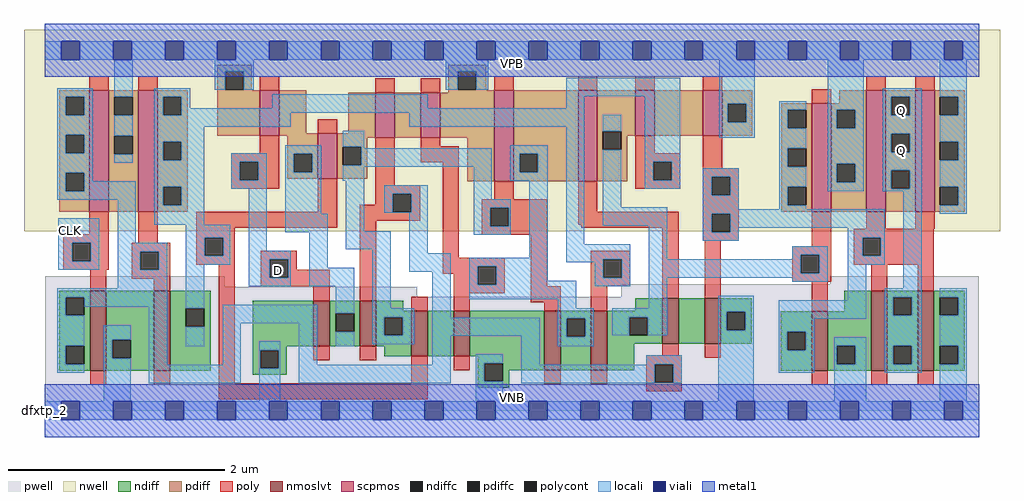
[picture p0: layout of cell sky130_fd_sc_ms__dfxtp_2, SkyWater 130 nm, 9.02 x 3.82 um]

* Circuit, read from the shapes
.subckt sky130_fd_sc_ms__dfxtp_2 CLK D VGND VNB VPB VPWR Q
XM1 VGND CLK n1 VNB sky130_fd_pr__nfet_01v8_lvt w=0.74 l=0.15
XM2 n2 n1 VGND VNB sky130_fd_pr__nfet_01v8_lvt w=0.74 l=0.15
XM3 n3 D VGND VNB sky130_fd_pr__nfet_01v8_lvt w=0.42 l=0.15
XM4 n4 n1 n3 VNB sky130_fd_pr__nfet_01v8_lvt w=0.42 l=0.15
XM5 n5 n2 n4 VNB sky130_fd_pr__nfet_01v8_lvt w=0.42 l=0.15
XM6 VGND n6 n5 VNB sky130_fd_pr__nfet_01v8_lvt w=0.42 l=0.15
XM7 n6 n4 VGND VNB sky130_fd_pr__nfet_01v8_lvt w=0.55 l=0.15
XM8 n7 n2 n6 VNB sky130_fd_pr__nfet_01v8_lvt w=0.55 l=0.15
XM9 n8 n1 n7 VNB sky130_fd_pr__nfet_01v8_lvt w=0.42 l=0.15
XM10 VGND n9 n8 VNB sky130_fd_pr__nfet_01v8_lvt w=0.42 l=0.15
XM11 VGND n7 n9 VNB sky130_fd_pr__nfet_01v8_lvt w=0.55 l=0.15
XM12 Q n9 VGND VNB sky130_fd_pr__nfet_01v8_lvt w=0.74 l=0.15 m=2
XM13 VPWR CLK n1 VPB sky130_fd_pr__pfet_01v8 w=1.12 l=0.18
XM14 n2 n1 VPWR VPB sky130_fd_pr__pfet_01v8 w=1.12 l=0.18
XM15 n3 D VPWR VPB sky130_fd_pr__pfet_01v8 w=0.42 l=0.18
XM16 n4 n2 n3 VPB sky130_fd_pr__pfet_01v8 w=0.42 l=0.18
XM17 n10 n1 n4 VPB sky130_fd_pr__pfet_01v8 w=0.42 l=0.18
XM18 VPWR n6 n10 VPB sky130_fd_pr__pfet_01v8 w=0.42 l=0.18
XM19 n6 n4 VPWR VPB sky130_fd_pr__pfet_01v8 w=0.84 l=0.18
XM20 n7 n1 n6 VPB sky130_fd_pr__pfet_01v8 w=0.84 l=0.18
XM21 n11 n2 n7 VPB sky130_fd_pr__pfet_01v8 w=0.42 l=0.18
XM22 VPWR n9 n11 VPB sky130_fd_pr__pfet_01v8 w=0.42 l=0.18
XM23 VPWR n7 n9 VPB sky130_fd_pr__pfet_01v8 w=1 l=0.18
XM24 Q n9 VPWR VPB sky130_fd_pr__pfet_01v8 w=1.12 l=0.18 m=2
.ends

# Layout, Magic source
magic
tech sky130A
magscale 1 2
<< nwell >>
rect -38 332 1766 704
<< pwell >>
rect 1 229 333 248
rect 1452 234 1727 248
rect 1 211 689 229
rect 1066 211 1727 234
rect 1 49 1727 211
rect 0 0 1728 49
<< scpmos >>
rect 83 368 119 592
rect 173 368 209 592
rect 398 508 434 592
rect 505 429 541 513
rect 611 504 647 588
rect 695 504 731 588
rect 831 424 867 592
rect 986 424 1022 592
rect 1092 508 1128 592
rect 1217 508 1253 592
rect 1418 368 1454 568
rect 1519 368 1555 592
rect 1609 368 1645 592
<< nmoslvt >>
rect 84 74 114 222
rect 202 74 232 222
rect 497 119 527 203
rect 583 119 613 203
rect 678 101 708 185
rect 756 101 786 185
rect 924 75 954 185
rect 1010 75 1040 185
rect 1142 124 1172 208
rect 1220 124 1250 208
rect 1418 74 1448 184
rect 1528 74 1558 222
rect 1614 74 1644 222
<< ndiff >>
rect 27 210 84 222
rect 27 176 39 210
rect 73 176 84 210
rect 27 120 84 176
rect 27 86 39 120
rect 73 86 84 120
rect 27 74 84 86
rect 114 131 202 222
rect 114 97 125 131
rect 159 97 202 131
rect 114 74 202 97
rect 232 189 307 222
rect 232 155 261 189
rect 295 155 307 189
rect 232 74 307 155
rect 385 119 497 203
rect 527 180 583 203
rect 527 146 538 180
rect 572 146 583 180
rect 527 119 583 146
rect 613 185 663 203
rect 1092 185 1142 208
rect 613 173 678 185
rect 613 139 628 173
rect 662 139 678 173
rect 613 119 678 139
rect 385 112 448 119
rect 385 78 399 112
rect 433 78 448 112
rect 628 101 678 119
rect 708 101 756 185
rect 786 101 924 185
rect 385 66 448 78
rect 801 88 924 101
rect 801 54 813 88
rect 847 75 924 88
rect 954 171 1010 185
rect 954 137 965 171
rect 999 137 1010 171
rect 954 75 1010 137
rect 1040 173 1142 185
rect 1040 139 1081 173
rect 1115 139 1142 173
rect 1040 124 1142 139
rect 1172 124 1220 208
rect 1250 183 1307 208
rect 1478 184 1528 222
rect 1250 149 1261 183
rect 1295 149 1307 183
rect 1250 124 1307 149
rect 1361 146 1418 184
rect 1040 75 1090 124
rect 1361 112 1373 146
rect 1407 112 1418 146
rect 847 54 859 75
rect 801 42 859 54
rect 1361 74 1418 112
rect 1448 120 1528 184
rect 1448 86 1464 120
rect 1498 86 1528 120
rect 1448 74 1528 86
rect 1558 210 1614 222
rect 1558 176 1569 210
rect 1603 176 1614 210
rect 1558 120 1614 176
rect 1558 86 1569 120
rect 1603 86 1614 120
rect 1558 74 1614 86
rect 1644 210 1701 222
rect 1644 176 1655 210
rect 1689 176 1701 210
rect 1644 120 1701 176
rect 1644 86 1655 120
rect 1689 86 1701 120
rect 1644 74 1701 86
<< pdiff >>
rect 319 627 383 639
rect 319 593 334 627
rect 368 593 383 627
rect 746 627 816 639
rect 319 592 383 593
rect 27 580 83 592
rect 27 546 39 580
rect 73 546 83 580
rect 27 510 83 546
rect 27 476 39 510
rect 73 476 83 510
rect 27 440 83 476
rect 27 406 39 440
rect 73 406 83 440
rect 27 368 83 406
rect 119 580 173 592
rect 119 546 129 580
rect 163 546 173 580
rect 119 508 173 546
rect 119 474 129 508
rect 163 474 173 508
rect 119 368 173 474
rect 209 580 265 592
rect 209 546 219 580
rect 253 546 265 580
rect 209 497 265 546
rect 319 508 398 592
rect 434 513 484 592
rect 746 593 764 627
rect 798 593 816 627
rect 746 592 816 593
rect 746 588 831 592
rect 561 513 611 588
rect 434 508 505 513
rect 209 463 219 497
rect 253 463 265 497
rect 209 414 265 463
rect 209 380 219 414
rect 253 380 265 414
rect 449 475 505 508
rect 449 441 461 475
rect 495 441 505 475
rect 449 429 505 441
rect 541 504 611 513
rect 647 504 695 588
rect 731 504 831 588
rect 541 488 596 504
rect 541 454 551 488
rect 585 454 596 488
rect 541 429 596 454
rect 209 368 265 380
rect 781 424 831 504
rect 867 475 986 592
rect 867 441 878 475
rect 912 441 986 475
rect 867 424 986 441
rect 1022 516 1092 592
rect 1022 482 1032 516
rect 1066 508 1092 516
rect 1128 508 1217 592
rect 1253 567 1308 592
rect 1469 568 1519 592
rect 1253 533 1263 567
rect 1297 533 1308 567
rect 1253 508 1308 533
rect 1362 556 1418 568
rect 1362 522 1374 556
rect 1408 522 1418 556
rect 1066 482 1077 508
rect 1022 424 1077 482
rect 1362 485 1418 522
rect 1362 451 1374 485
rect 1408 451 1418 485
rect 1362 414 1418 451
rect 1362 380 1374 414
rect 1408 380 1418 414
rect 1362 368 1418 380
rect 1454 556 1519 568
rect 1454 522 1464 556
rect 1498 522 1519 556
rect 1454 456 1519 522
rect 1454 422 1464 456
rect 1498 422 1519 456
rect 1454 368 1519 422
rect 1555 580 1609 592
rect 1555 546 1565 580
rect 1599 546 1609 580
rect 1555 512 1609 546
rect 1555 478 1565 512
rect 1599 478 1609 512
rect 1555 444 1609 478
rect 1555 410 1565 444
rect 1599 410 1609 444
rect 1555 368 1609 410
rect 1645 580 1701 592
rect 1645 546 1655 580
rect 1689 546 1701 580
rect 1645 497 1701 546
rect 1645 463 1655 497
rect 1689 463 1701 497
rect 1645 414 1701 463
rect 1645 380 1655 414
rect 1689 380 1701 414
rect 1645 368 1701 380
<< ndiffc >>
rect 39 176 73 210
rect 39 86 73 120
rect 125 97 159 131
rect 261 155 295 189
rect 538 146 572 180
rect 628 139 662 173
rect 399 78 433 112
rect 813 54 847 88
rect 965 137 999 171
rect 1081 139 1115 173
rect 1261 149 1295 183
rect 1373 112 1407 146
rect 1464 86 1498 120
rect 1569 176 1603 210
rect 1569 86 1603 120
rect 1655 176 1689 210
rect 1655 86 1689 120
<< pdiffc >>
rect 334 593 368 627
rect 39 546 73 580
rect 39 476 73 510
rect 39 406 73 440
rect 129 546 163 580
rect 129 474 163 508
rect 219 546 253 580
rect 764 593 798 627
rect 219 463 253 497
rect 219 380 253 414
rect 461 441 495 475
rect 551 454 585 488
rect 878 441 912 475
rect 1032 482 1066 516
rect 1263 533 1297 567
rect 1374 522 1408 556
rect 1374 451 1408 485
rect 1374 380 1408 414
rect 1464 522 1498 556
rect 1464 422 1498 456
rect 1565 546 1599 580
rect 1565 478 1599 512
rect 1565 410 1599 444
rect 1655 546 1689 580
rect 1655 463 1689 497
rect 1655 380 1689 414
<< poly >>
rect 83 592 119 618
rect 173 592 209 618
rect 398 592 434 618
rect 611 588 647 614
rect 695 588 731 614
rect 831 592 867 618
rect 986 592 1022 618
rect 1092 592 1128 618
rect 1217 592 1253 618
rect 505 513 541 539
rect 398 476 434 508
rect 345 460 434 476
rect 345 426 361 460
rect 395 426 434 460
rect 345 410 434 426
rect 505 368 541 429
rect 611 417 647 504
rect 695 489 731 504
rect 695 459 766 489
rect 611 401 694 417
rect 611 381 644 401
rect 83 326 119 368
rect 35 310 119 326
rect 173 310 209 368
rect 280 338 541 368
rect 583 367 644 381
rect 678 367 694 401
rect 583 351 694 367
rect 280 320 352 338
rect 35 276 51 310
rect 85 276 119 310
rect 35 260 119 276
rect 161 294 232 310
rect 161 260 177 294
rect 211 260 232 294
rect 280 286 296 320
rect 330 286 352 320
rect 280 270 352 286
rect 84 222 114 260
rect 161 244 232 260
rect 202 222 232 244
rect 84 48 114 74
rect 202 48 232 74
rect 322 51 352 270
rect 400 280 466 296
rect 400 246 416 280
rect 450 260 466 280
rect 450 246 527 260
rect 400 230 527 246
rect 497 203 527 230
rect 583 203 613 351
rect 736 283 766 459
rect 1418 568 1454 594
rect 1519 592 1555 618
rect 1609 592 1645 618
rect 1092 476 1128 508
rect 1092 460 1175 476
rect 1092 426 1125 460
rect 1159 426 1175 460
rect 831 391 867 424
rect 808 375 929 391
rect 808 341 824 375
rect 858 341 929 375
rect 986 368 1022 424
rect 1092 410 1175 426
rect 1217 448 1253 508
rect 1217 432 1283 448
rect 1217 398 1233 432
rect 1267 398 1283 432
rect 986 344 1172 368
rect 808 325 929 341
rect 992 338 1172 344
rect 736 267 851 283
rect 736 253 801 267
rect 756 233 801 253
rect 835 233 851 267
rect 756 217 851 233
rect 899 230 929 325
rect 1010 280 1083 296
rect 1010 246 1033 280
rect 1067 246 1083 280
rect 1010 230 1083 246
rect 678 185 708 211
rect 756 185 786 217
rect 899 200 954 230
rect 924 185 954 200
rect 1010 185 1040 230
rect 1142 208 1172 338
rect 1217 364 1283 398
rect 1217 330 1233 364
rect 1267 330 1283 364
rect 1217 314 1283 330
rect 1220 208 1250 314
rect 1418 304 1454 368
rect 1519 336 1555 368
rect 1609 336 1645 368
rect 1382 288 1454 304
rect 1382 254 1398 288
rect 1432 254 1454 288
rect 1496 320 1644 336
rect 1496 286 1512 320
rect 1546 286 1644 320
rect 1496 270 1644 286
rect 1382 238 1454 254
rect 497 93 527 119
rect 583 93 613 119
rect 678 51 708 101
rect 756 75 786 101
rect 322 21 708 51
rect 1418 184 1448 238
rect 1528 222 1558 270
rect 1614 222 1644 270
rect 1142 102 1172 124
rect 1112 86 1178 102
rect 1220 98 1250 124
rect 924 49 954 75
rect 1010 49 1040 75
rect 1112 52 1128 86
rect 1162 52 1178 86
rect 1112 36 1178 52
rect 1418 48 1448 74
rect 1528 48 1558 74
rect 1614 48 1644 74
<< polycont >>
rect 361 426 395 460
rect 644 367 678 401
rect 51 276 85 310
rect 177 260 211 294
rect 296 286 330 320
rect 416 246 450 280
rect 1125 426 1159 460
rect 824 341 858 375
rect 1233 398 1267 432
rect 801 233 835 267
rect 1033 246 1067 280
rect 1233 330 1267 364
rect 1398 254 1432 288
rect 1512 286 1546 320
rect 1128 52 1162 86
<< locali >>
rect 0 649 31 683
rect 65 649 127 683
rect 161 649 223 683
rect 257 649 319 683
rect 353 649 415 683
rect 449 649 511 683
rect 545 649 607 683
rect 641 649 703 683
rect 737 649 799 683
rect 833 649 895 683
rect 929 649 991 683
rect 1025 649 1087 683
rect 1121 649 1183 683
rect 1217 649 1279 683
rect 1313 649 1375 683
rect 1409 649 1471 683
rect 1505 649 1567 683
rect 1601 649 1663 683
rect 1697 649 1728 683
rect 23 580 89 596
rect 23 546 39 580
rect 73 546 89 580
rect 23 510 89 546
rect 23 476 39 510
rect 73 476 89 510
rect 23 440 89 476
rect 129 580 163 649
rect 315 627 387 649
rect 129 508 163 546
rect 129 458 163 474
rect 203 580 269 596
rect 315 593 334 627
rect 368 593 387 627
rect 742 627 820 649
rect 742 593 764 627
rect 798 593 820 627
rect 203 546 219 580
rect 253 559 269 580
rect 421 559 708 585
rect 964 581 1175 615
rect 964 559 998 581
rect 253 551 998 559
rect 253 546 455 551
rect 203 525 455 546
rect 674 525 998 551
rect 203 497 295 525
rect 203 463 219 497
rect 253 463 295 497
rect 23 406 39 440
rect 73 424 89 440
rect 73 406 169 424
rect 23 390 169 406
rect 25 310 101 356
rect 25 276 51 310
rect 85 276 101 310
rect 25 260 101 276
rect 135 310 169 390
rect 203 414 295 463
rect 203 380 219 414
rect 253 380 295 414
rect 345 460 411 476
rect 345 426 361 460
rect 395 426 411 460
rect 345 410 411 426
rect 203 344 295 380
rect 261 320 343 344
rect 135 294 227 310
rect 135 260 177 294
rect 211 260 227 294
rect 135 226 227 260
rect 23 210 227 226
rect 23 176 39 210
rect 73 192 227 210
rect 23 120 73 176
rect 23 86 39 120
rect 23 70 73 86
rect 109 131 159 158
rect 109 97 125 131
rect 109 17 159 97
rect 193 85 227 192
rect 261 286 296 320
rect 330 286 343 320
rect 261 270 343 286
rect 377 296 411 410
rect 445 475 511 491
rect 445 441 461 475
rect 495 441 511 475
rect 445 364 511 441
rect 551 488 591 517
rect 585 485 591 488
rect 585 454 827 485
rect 551 451 827 454
rect 551 425 591 451
rect 445 330 523 364
rect 377 280 455 296
rect 261 189 295 270
rect 377 246 416 280
rect 450 246 455 280
rect 377 230 455 246
rect 489 264 523 330
rect 557 332 591 425
rect 628 401 708 417
rect 628 367 644 401
rect 678 367 708 401
rect 628 366 708 367
rect 557 298 640 332
rect 489 230 572 264
rect 261 119 295 155
rect 329 162 504 196
rect 329 85 363 162
rect 193 51 363 85
rect 397 112 436 128
rect 397 78 399 112
rect 433 78 436 112
rect 397 17 436 78
rect 470 85 504 162
rect 538 180 572 230
rect 538 119 572 146
rect 606 189 640 298
rect 674 291 708 366
rect 793 391 827 451
rect 861 475 930 491
rect 861 441 878 475
rect 912 441 930 475
rect 861 425 930 441
rect 793 375 862 391
rect 793 341 824 375
rect 858 341 862 375
rect 793 325 862 341
rect 674 257 751 291
rect 896 283 930 425
rect 606 173 683 189
rect 606 139 628 173
rect 662 139 683 173
rect 606 123 683 139
rect 717 172 751 257
rect 785 267 930 283
rect 964 308 998 525
rect 1032 516 1066 547
rect 1032 376 1066 482
rect 1109 460 1175 581
rect 1247 567 1313 649
rect 1247 533 1263 567
rect 1297 533 1313 567
rect 1247 504 1313 533
rect 1358 556 1408 572
rect 1358 522 1374 556
rect 1109 426 1125 460
rect 1159 426 1175 460
rect 1358 485 1408 522
rect 1358 451 1374 485
rect 1109 410 1175 426
rect 1217 432 1283 448
rect 1217 398 1233 432
rect 1267 398 1283 432
rect 1032 342 1151 376
rect 964 280 1083 308
rect 964 274 1033 280
rect 785 233 801 267
rect 835 240 930 267
rect 1017 246 1033 274
rect 1067 246 1083 280
rect 835 233 983 240
rect 785 206 983 233
rect 1017 230 1083 246
rect 1117 280 1151 342
rect 1217 372 1283 398
rect 1358 414 1408 451
rect 1358 380 1374 414
rect 1448 556 1514 649
rect 1448 522 1464 556
rect 1498 522 1514 556
rect 1448 456 1514 522
rect 1448 422 1464 456
rect 1498 422 1514 456
rect 1448 406 1514 422
rect 1549 580 1621 596
rect 1549 546 1565 580
rect 1599 546 1621 580
rect 1549 512 1621 546
rect 1549 478 1565 512
rect 1599 478 1621 512
rect 1549 444 1621 478
rect 1549 410 1565 444
rect 1599 410 1621 444
rect 1549 406 1621 410
rect 1358 372 1408 380
rect 1217 364 1553 372
rect 1217 330 1233 364
rect 1267 338 1553 364
rect 1267 330 1283 338
rect 1217 314 1283 330
rect 1485 320 1553 338
rect 1382 288 1448 304
rect 1382 280 1398 288
rect 1117 254 1398 280
rect 1432 254 1448 288
rect 1117 246 1448 254
rect 949 189 983 206
rect 1117 189 1151 246
rect 1382 238 1448 246
rect 1485 286 1512 320
rect 1546 286 1553 320
rect 1485 270 1553 286
rect 717 138 915 172
rect 717 85 751 138
rect 470 51 751 85
rect 797 88 847 104
rect 797 54 813 88
rect 797 17 847 54
rect 881 85 915 138
rect 949 171 1015 189
rect 949 137 965 171
rect 999 137 1015 171
rect 1049 173 1151 189
rect 1049 139 1081 173
rect 1115 139 1151 173
rect 1245 183 1311 212
rect 1485 204 1519 270
rect 1587 226 1621 406
rect 1655 580 1705 649
rect 1689 546 1705 580
rect 1655 497 1705 546
rect 1689 463 1705 497
rect 1655 414 1705 463
rect 1689 380 1705 414
rect 1655 364 1705 380
rect 1245 149 1261 183
rect 1295 149 1311 183
rect 949 119 1015 137
rect 1112 86 1178 102
rect 1112 85 1128 86
rect 881 52 1128 85
rect 1162 52 1178 86
rect 881 51 1178 52
rect 1245 17 1311 149
rect 1357 170 1519 204
rect 1553 210 1621 226
rect 1553 176 1569 210
rect 1603 176 1621 210
rect 1357 146 1423 170
rect 1357 112 1373 146
rect 1407 112 1423 146
rect 1357 70 1423 112
rect 1460 120 1519 136
rect 1460 86 1464 120
rect 1498 86 1519 120
rect 1460 17 1519 86
rect 1553 120 1621 176
rect 1553 86 1569 120
rect 1603 86 1621 120
rect 1553 70 1621 86
rect 1655 210 1705 226
rect 1689 176 1705 210
rect 1655 120 1705 176
rect 1689 86 1705 120
rect 1655 17 1705 86
rect 0 -17 31 17
rect 65 -17 127 17
rect 161 -17 223 17
rect 257 -17 319 17
rect 353 -17 415 17
rect 449 -17 511 17
rect 545 -17 607 17
rect 641 -17 703 17
rect 737 -17 799 17
rect 833 -17 895 17
rect 929 -17 991 17
rect 1025 -17 1087 17
rect 1121 -17 1183 17
rect 1217 -17 1279 17
rect 1313 -17 1375 17
rect 1409 -17 1471 17
rect 1505 -17 1567 17
rect 1601 -17 1663 17
rect 1697 -17 1728 17
<< viali >>
rect 31 649 65 683
rect 127 649 161 683
rect 223 649 257 683
rect 319 649 353 683
rect 415 649 449 683
rect 511 649 545 683
rect 607 649 641 683
rect 703 649 737 683
rect 799 649 833 683
rect 895 649 929 683
rect 991 649 1025 683
rect 1087 649 1121 683
rect 1183 649 1217 683
rect 1279 649 1313 683
rect 1375 649 1409 683
rect 1471 649 1505 683
rect 1567 649 1601 683
rect 1663 649 1697 683
rect 31 -17 65 17
rect 127 -17 161 17
rect 223 -17 257 17
rect 319 -17 353 17
rect 415 -17 449 17
rect 511 -17 545 17
rect 607 -17 641 17
rect 703 -17 737 17
rect 799 -17 833 17
rect 895 -17 929 17
rect 991 -17 1025 17
rect 1087 -17 1121 17
rect 1183 -17 1217 17
rect 1279 -17 1313 17
rect 1375 -17 1409 17
rect 1471 -17 1505 17
rect 1567 -17 1601 17
rect 1663 -17 1697 17
<< metal1 >>
rect 0 683 1728 715
rect 0 649 31 683
rect 65 649 127 683
rect 161 649 223 683
rect 257 649 319 683
rect 353 649 415 683
rect 449 649 511 683
rect 545 649 607 683
rect 641 649 703 683
rect 737 649 799 683
rect 833 649 895 683
rect 929 649 991 683
rect 1025 649 1087 683
rect 1121 649 1183 683
rect 1217 649 1279 683
rect 1313 649 1375 683
rect 1409 649 1471 683
rect 1505 649 1567 683
rect 1601 649 1663 683
rect 1697 649 1728 683
rect 0 617 1728 649
rect 0 17 1728 49
rect 0 -17 31 17
rect 65 -17 127 17
rect 161 -17 223 17
rect 257 -17 319 17
rect 353 -17 415 17
rect 449 -17 511 17
rect 545 -17 607 17
rect 641 -17 703 17
rect 737 -17 799 17
rect 833 -17 895 17
rect 929 -17 991 17
rect 1025 -17 1087 17
rect 1121 -17 1183 17
rect 1217 -17 1279 17
rect 1313 -17 1375 17
rect 1409 -17 1471 17
rect 1505 -17 1567 17
rect 1601 -17 1663 17
rect 1697 -17 1728 17
rect 0 -49 1728 -17
<< labels >>
flabel pwell s 0 0 1728 49 0 FreeSans 200 0 0 0 VNB
port 4 nsew ground bidirectional
flabel nwell s 0 617 1728 666 0 FreeSans 200 0 0 0 VPB
port 5 nsew power bidirectional
rlabel comment s 0 0 0 0 4 dfxtp_2
flabel metal1 s 0 617 1728 666 0 FreeSans 340 0 0 0 VPWR
port 6 nsew power bidirectional
flabel metal1 s 0 0 1728 49 0 FreeSans 340 0 0 0 VGND
port 3 nsew ground bidirectional
flabel locali s 1567 464 1601 498 0 FreeSans 340 0 0 0 Q
port 7 nsew signal output
flabel locali s 1567 538 1601 572 0 FreeSans 340 0 0 0 Q
port 7 nsew signal output
flabel locali s 31 316 65 350 0 FreeSans 340 0 0 0 CLK
port 1 nsew clock input
flabel locali s 415 242 449 276 0 FreeSans 340 0 0 0 D
port 2 nsew signal input
<< properties >>
string LEFsite unit
string LEFclass CORE
string FIXED_BBOX 0 0 1728 666
string GDS_FILE $PDKPATH/libs.ref/sky130_fd_sc_ms/gds/sky130_fd_sc_ms.gds
string LEFsymmetry X Y
string GDS_END 835390
string GDS_START 822406
<< end >>
